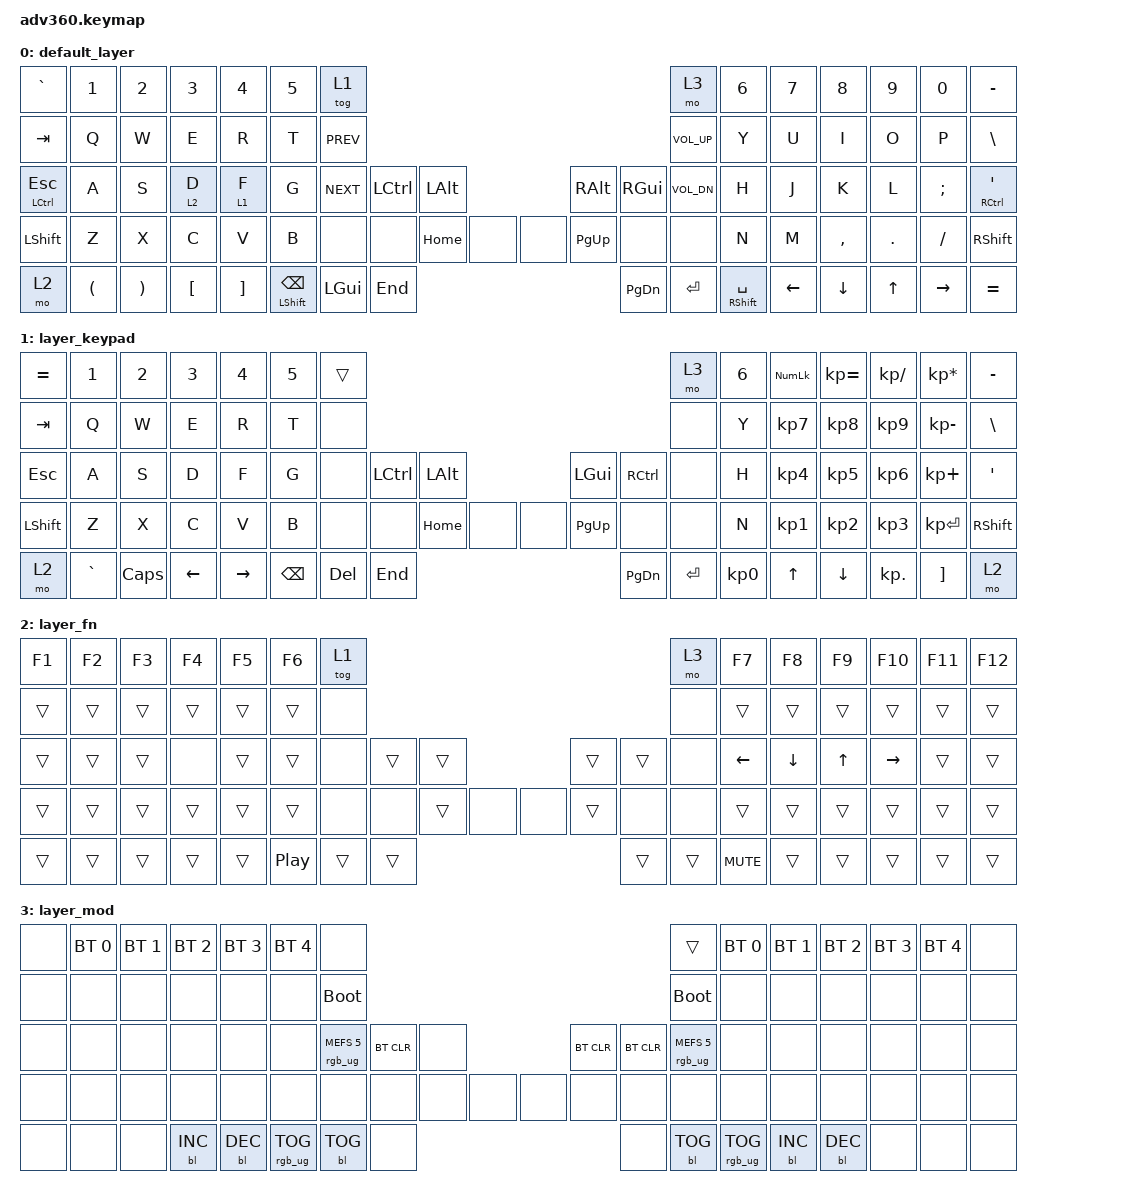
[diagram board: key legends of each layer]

/*
 * Copyright (c) 2020 The ZMK Contributors
 *
 * SPDX-License-Identifier: MIT
 */


/* THIS FILE WAS GENERATED!
 *
 * This file was generated automatically. You may or may not want to
 * edit it directly.
 */

#include <behaviors.dtsi>
#include <dt-bindings/zmk/keys.h>
#include <dt-bindings/zmk/bt.h>
#include <dt-bindings/zmk/rgb.h>
#include <dt-bindings/zmk/backlight.h>

/ {
  behaviors {
    #include "macros.dtsi"

    hm: homerow_mods {
        compatible = "zmk,behavior-hold-tap";
        label = "HOMEROW_MODS";
        #binding-cells = <2>;
        tapping-term-ms = <200>;
        quick_tap_ms = <175>;
        flavor = "tap-preferred";
        bindings = <&kp>, <&kp>;
    };
  };

    keymap {
        compatible = "zmk,keymap";


        default_layer {
            bindings = <
     &kp GRAVE                &kp N1                 &kp N2            &kp N3             &kp N4  &kp N5                              &tog 1                                                                       &mo 3  &kp N6    &kp N7     &kp N8   &kp N9     &kp N0               &kp MINUS
       &kp TAB                 &kp Q                  &kp W             &kp E              &kp R   &kp T                          &kp C_PREV                                                                &kp C_VOL_UP   &kp Y     &kp U      &kp I    &kp O      &kp P                &kp BSLH
 &mt LCTRL ESC                 &kp A                  &kp S           &lt 2 D            &lt 1 F   &kp G                          &kp C_NEXT  &kp LCTRL  &kp LALT                   &kp RALT   &kp RGUI     &kp C_VOL_DN   &kp H     &kp J      &kp K    &kp L   &kp SEMI  &mt RCTRL SINGLE_QUOTE
     &kp LSHFT                 &kp Z                  &kp X             &kp C              &kp V   &kp B                               &none      &none  &kp HOME   &none   &none  &kp PG_UP      &none            &none   &kp N     &kp M  &kp COMMA  &kp DOT   &kp FSLH               &kp RSHFT
         &mo 2  &kp LEFT_PARENTHESIS  &kp RIGHT_PARENTHESIS  &kp LEFT_BRACKET  &kp RIGHT_BRACKET                    &mt LEFT_SHIFT BACKSPACE   &kp LGUI   &kp END                  &kp PG_DN  &kp ENTER  &mt RSHFT SPACE          &kp LEFT   &kp DOWN   &kp UP  &kp RIGHT               &kp EQUAL
            >;
        };

        layer_keypad {
            bindings = <
 &kp EQUAL     &kp N1    &kp N2    &kp N3     &kp N4  &kp N5              &trans                                                                 &mo 3  &kp N6  &kp KP_NUM    &kp KP_EQUAL  &kp KP_DIVIDE  &kp KP_MULTIPLY  &kp MINUS
   &kp TAB      &kp Q     &kp W     &kp E      &kp R   &kp T               &none                                                                 &none   &kp Y   &kp KP_N7       &kp KP_N8      &kp KP_N9     &kp KP_MINUS   &kp BSLH
   &kp ESC      &kp A     &kp S     &kp D      &kp F   &kp G               &none  &kp LCTRL  &kp LALT                   &kp LGUI  &kp RCTRL      &none   &kp H   &kp KP_N4       &kp KP_N5      &kp KP_N6      &kp KP_PLUS    &kp SQT
 &kp LSHFT      &kp Z     &kp X     &kp C      &kp V   &kp B               &none      &none  &kp HOME   &none   &none  &kp PG_UP      &none      &none   &kp N   &kp KP_N1       &kp KP_N2      &kp KP_N3     &kp KP_ENTER  &kp RSHFT
     &mo 2  &kp GRAVE  &kp CAPS  &kp LEFT  &kp RIGHT                    &kp BSPC    &kp DEL   &kp END                  &kp PG_DN  &kp ENTER  &kp KP_N0              &kp UP  &kp DOWN_ARROW     &kp KP_DOT         &kp RBKT      &mo 2
            >;
        };

        layer_fn {
            bindings = <
 &kp F1  &kp F2  &kp F3  &kp F4  &kp F5  &kp F6                      &tog 1                                                       &mo 3          &kp F7          &kp F8        &kp F9          &kp F10  &kp F11  &kp F12
 &trans  &trans  &trans  &trans  &trans  &trans                       &none                                                       &none          &trans          &trans        &trans           &trans   &trans   &trans
 &trans  &trans  &trans   &none  &trans  &trans                       &none  &trans  &trans                  &trans  &trans       &none  &kp LEFT_ARROW  &kp DOWN_ARROW  &kp UP_ARROW  &kp RIGHT_ARROW   &trans   &trans
 &trans  &trans  &trans  &trans  &trans  &trans                       &none   &none  &trans   &none   &none  &trans   &none       &none          &trans          &trans        &trans           &trans   &trans   &trans
 &trans  &trans  &trans  &trans  &trans                    &kp C_PLAY_PAUSE  &trans  &trans                  &trans  &trans  &kp C_MUTE                          &trans        &trans           &trans   &trans   &trans
            >;
        };

        layer_mod {
            bindings = <
  &none  &bt BT_SEL 0  &bt BT_SEL 1  &bt BT_SEL 2  &bt BT_SEL 3  &bt BT_SEL 4                             &none                                                                              &trans  &bt BT_SEL 0  &bt BT_SEL 1  &bt BT_SEL 2  &bt BT_SEL 3  &bt BT_SEL 4   &none
  &none         &none         &none         &none         &none         &none                       &bootloader                                                                         &bootloader         &none         &none         &none         &none         &none   &none
  &none         &none         &none         &none         &none         &none            &rgb_ug RGB_MEFS_CMD 5  &bt BT_CLR   &none                  &bt BT_CLR  &bt BT_CLR  &rgb_ug RGB_MEFS_CMD 5         &none         &none         &none         &none         &none   &none
  &none         &none         &none         &none         &none         &none                             &none       &none   &none   &none   &none       &none       &none                   &none         &none         &none         &none         &none         &none   &none
  &none         &none         &none    &bl BL_INC    &bl BL_DEC                                 &rgb_ug RGB_TOG  &bl BL_TOG   &none                       &none  &bl BL_TOG         &rgb_ug RGB_TOG                  &bl BL_INC    &bl BL_DEC         &none         &none   &none
            >;
        };

    };
};
